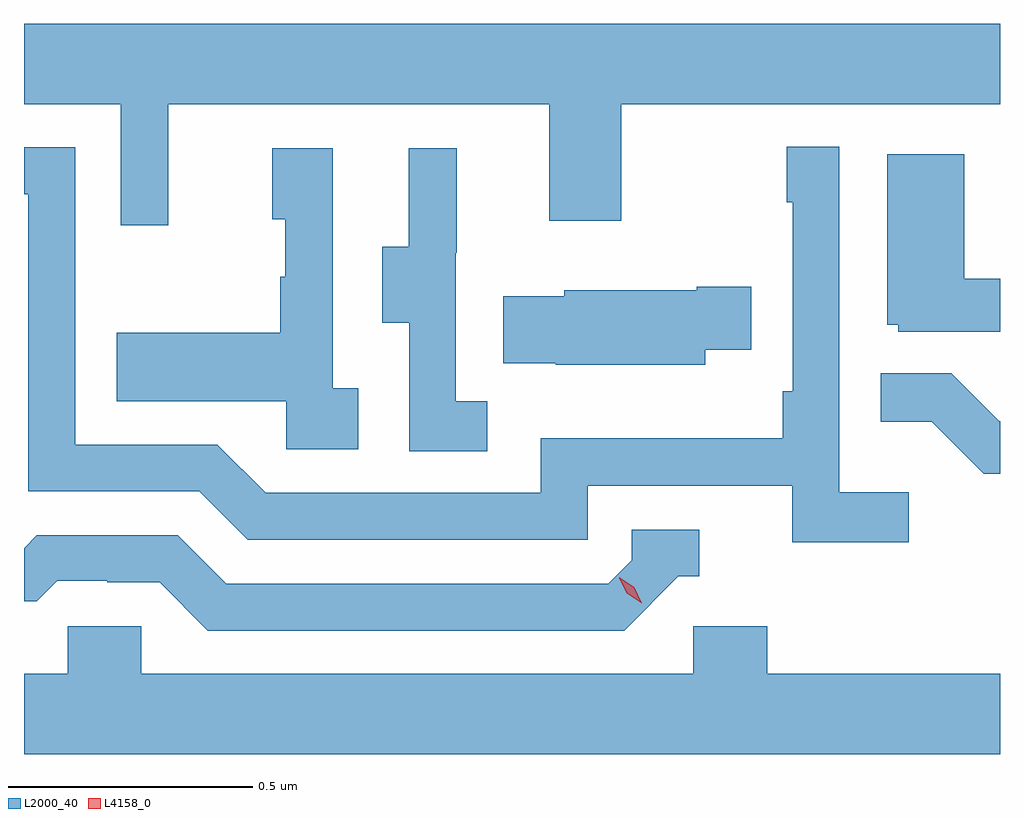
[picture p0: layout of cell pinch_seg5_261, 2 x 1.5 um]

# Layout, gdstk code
import gdstk
lib = gdstk.Library(unit=1e-6, precision=1e-09)
def P(c, l, *ps):  # polygons
    for p in ps: c.add(gdstk.Polygon(p, *l))
L2000_40 = (2000, 40)
L4158_0 = (4158, 0)

pinch_seg5_261 = lib.new_cell('pinch_seg5_261')
P(pinch_seg5_261, L2000_40, [(929.771,896.72),(930.551,896.72),(930.551,896.481),(930.699,896.481),(930.699,896.72),(931.475,896.72),(931.475,896.884),(929.475,896.884),(929.475,896.72),(929.673,896.72),(929.673,896.472),(929.771,896.472)],
  [(931.288,895.924),(931.146,895.924),(931.146,896.632),(931.038,896.632),(931.038,896.519),(931.05,896.519),(931.05,896.131),(931.03,896.131),(931.03,896.035),(930.534,896.035),(930.534,895.923),(929.97,895.923),(929.871,896.022),(929.58,896.022),(929.58,896.631),(929.475,896.631),(929.475,896.535),(929.484,896.535),(929.484,895.926),(929.834,895.926),(929.933,895.827),(930.63,895.827),(930.63,895.938),(931.049,895.938),(931.049,895.822),(931.288,895.822)],
  [(930.16,896.138),(930.108,896.138),(930.108,896.629),(929.984,896.629),(929.984,896.484),(930.01,896.484),(930.01,896.366),(930,896.366),(930,896.251),(929.665,896.251),(929.665,896.111),(930.012,896.111),(930.012,896.013),(930.16,896.013)],
  [(930.424,896.111),(930.36,896.111),(930.36,896.415),(930.362,896.415),(930.362,896.629),(930.263,896.629),(930.263,896.427),(930.209,896.427),(930.209,896.272),(930.264,896.272),(930.264,896.008),(930.424,896.008)],
  [(931.475,896.362),(931.402,896.362),(931.402,896.617),(931.244,896.617),(931.244,896.268),(931.266,896.268),(931.266,896.253),(931.475,896.253)],
  [(930.871,896.216),(930.965,896.216),(930.965,896.346),(930.854,896.346),(930.854,896.338),(930.582,896.338),(930.582,896.326),(930.457,896.326),(930.457,896.189),(930.565,896.189),(930.565,896.186),(930.871,896.186)],
  [(931.475,896.07),(931.473,896.07),(931.375,896.168),(931.231,896.168),(931.231,896.069),(931.335,896.069),(931.442,895.962),(931.475,895.962)],
  [(930.816,895.752),(930.859,895.752),(930.859,895.848),(930.72,895.848),(930.72,895.785),(930.672,895.737),(929.889,895.737),(929.79,895.836),(929.501,895.836),(929.475,895.81),(929.475,895.701),(929.501,895.701),(929.543,895.743),(929.646,895.743),(929.646,895.74),(929.753,895.74),(929.852,895.641),(930.705,895.641)],
  [(931.475,895.552),(930.998,895.552),(930.998,895.65),(930.846,895.65),(930.846,895.552),(929.715,895.552),(929.715,895.65),(929.565,895.65),(929.565,895.552),(929.475,895.552),(929.475,895.388),(931.475,895.388)])
P(pinch_seg5_261, L4158_0, [(930.741,895.697),(930.71,895.717),(930.695,895.749),(930.695,895.75),(930.695,895.75),(930.725,895.73),(930.741,895.697),(930.741,895.697)])

lib.write_gds('pinch_seg5_261.gds')
